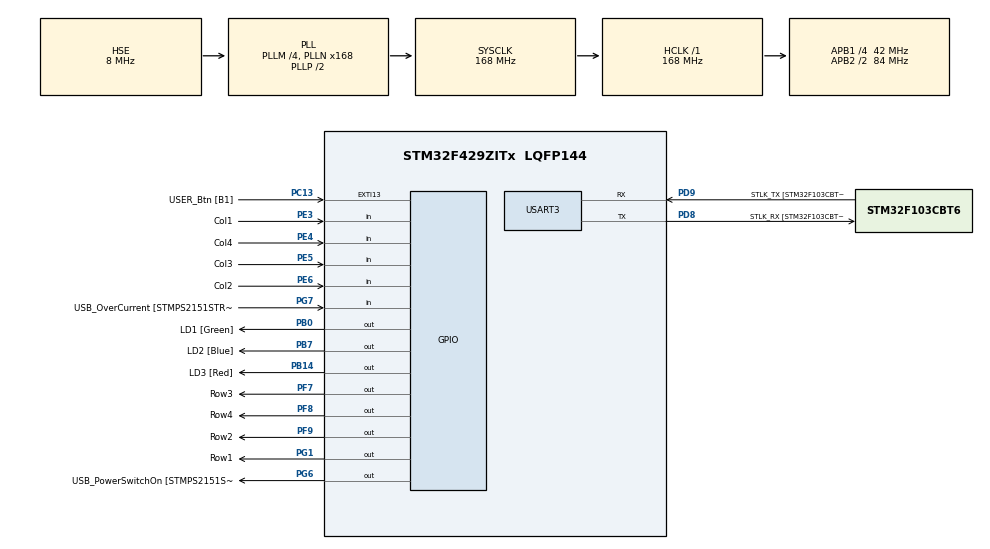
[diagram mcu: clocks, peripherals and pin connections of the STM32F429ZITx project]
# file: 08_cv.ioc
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Mcu.Family=STM32F4
Mcu.Name=STM32F429ZITx
Mcu.Package=LQFP144
NVIC.PriorityGroup=NVIC_PRIORITYGROUP_4
NVIC.TIM3_IRQn=true\:0\:0\:false\:false\:true\:true\:true
PA1.GPIO_Label=RMII_REF_CLK [LAN8742A-CZ-TR_REFCLK0]
PA1.Signal=ETH_REF_CLK
PA10.GPIO_Label=USB_ID
PA10.Signal=USB_OTG_FS_ID
PA11.GPIO_Label=USB_DM
PA11.Signal=USB_OTG_FS_DM
PA12.GPIO_Label=USB_DP
PA12.Signal=USB_OTG_FS_DP
PA13.GPIO_Label=TMS
PA13.Mode=Serial_Wire
PA13.Signal=SYS_JTMS-SWDIO
PA14.GPIO_Label=TCK
PA14.Mode=Serial_Wire
PA14.Signal=SYS_JTCK-SWCLK
PA2.GPIO_Label=RMII_MDIO [LAN8742A-CZ-TR_MDIO]
PA2.Signal=ETH_MDIO
PA7.GPIO_Label=RMII_CRS_DV [LAN8742A-CZ-TR_CRS_DV]
PA7.Signal=ETH_CRS_DV
PA8.GPIO_Label=USB_SOF [TP1]
PA8.Signal=USB_OTG_FS_SOF
PA9.GPIO_Label=USB_VBUS
PA9.Signal=USB_OTG_FS_VBUS
PB0.GPIO_Label=LD1 [Green]
PB0.Signal=GPIO_Output
PB13.GPIO_Label=RMII_TXD1 [LAN8742A-CZ-TR_TXD1]
PB13.Signal=ETH_TXD1
PB14.GPIO_Label=LD3 [Red]
PB14.Signal=GPIO_Output
PB7.GPIO_Label=LD2 [Blue]
PB7.Signal=GPIO_Output
PC1.GPIO_Label=RMII_MDC [LAN8742A-CZ-TR_MDC]
PC1.Signal=ETH_MDC
PC13.GPIO_Label=USER_Btn [B1]
PC13.Signal=GPXTI13
PC14/OSC32_IN.Mode=LSE-External-Oscillator
PC14/OSC32_IN.Signal=RCC_OSC32_IN
PC15/OSC32_OUT.Mode=LSE-External-Oscillator
PC15/OSC32_OUT.Signal=RCC_OSC32_OUT
PC4.GPIO_Label=RMII_RXD0 [LAN8742A-CZ-TR_RXD0]
PC4.Signal=ETH_RXD0
PC5.GPIO_Label=RMII_RXD1 [LAN8742A-CZ-TR_RXD1]
PC5.Signal=ETH_RXD1
PD8.GPIO_Label=STLK_RX [STM32F103CBT6_PA3]
PD8.Mode=Asynchronous
PD8.Signal=USART3_TX
PD9.GPIO_Label=STLK_TX [STM32F103CBT6_PA2]
PD9.Mode=Asynchronous
PD9.Signal=USART3_RX
PE3.GPIO_Label=Col1
PE3.GPIO_PuPd=GPIO_PULLUP
PE3.Signal=GPIO_Input
PE4.GPIO_Label=Col4
PE4.GPIO_PuPd=GPIO_PULLUP
PE4.Signal=GPIO_Input
PE5.GPIO_Label=Col3
PE5.GPIO_PuPd=GPIO_PULLUP
PE5.Signal=GPIO_Input
PE6.GPIO_Label=Col2
PE6.GPIO_PuPd=GPIO_PULLUP
PE6.Signal=GPIO_Input
PF7.GPIO_Label=Row3
PF7.GPIO_ModeDefaultOutputPP=GPIO_MODE_OUTPUT_OD
PF7.Signal=GPIO_Output
PF8.GPIO_Label=Row4
PF8.GPIO_ModeDefaultOutputPP=GPIO_MODE_OUTPUT_OD
PF8.Signal=GPIO_Output
PF9.GPIO_Label=Row2
PF9.GPIO_ModeDefaultOutputPP=GPIO_MODE_OUTPUT_OD
PF9.Signal=GPIO_Output
PG1.GPIO_Label=Row1
PG1.GPIO_ModeDefaultOutputPP=GPIO_MODE_OUTPUT_OD
PG1.Signal=GPIO_Output
PG11.GPIO_Label=RMII_TX_EN [LAN8742A-CZ-TR_TXEN]
PG11.Signal=ETH_TX_EN
PG13.GPIO_Label=RMII_TXD0 [LAN8742A-CZ-TR_TXD0]
PG13.Signal=ETH_TXD0
PG6.GPIO_Label=USB_PowerSwitchOn [STMPS2151STR_EN]
PG6.Signal=GPIO_Output
PG7.GPIO_Label=USB_OverCurrent [STMPS2151STR_FAULT]
PG7.Signal=GPIO_Input
PH0/OSC_IN.GPIO_Label=MCO [STM32F103CBT6_PA8]
PH0/OSC_IN.Mode=HSE-External-Clock-Source
PH0/OSC_IN.Signal=RCC_OSC_IN
PH1/OSC_OUT.Mode=HSE-External-Clock-Source
PH1/OSC_OUT.Signal=RCC_OSC_OUT
ProjectManager.HeapSize=0x200
ProjectManager.StackSize=0x400
ProjectManager.TargetToolchain=STM32CubeIDE
RCC.48MHZClocksFreq_Value=48000000
RCC.AHBFreq_Value=168000000
RCC.APB1CLKDivider=RCC_HCLK_DIV4
RCC.APB1Freq_Value=42000000
RCC.APB1TimFreq_Value=84000000
RCC.APB2CLKDivider=RCC_HCLK_DIV2
RCC.APB2Freq_Value=84000000
RCC.APB2TimCLKDivider=2
RCC.APB2TimFreq_Value=168000000
RCC.CortexFreq_Value=168000000
RCC.HCLKFreq_Value=168000000
RCC.HSE_VALUE=8000000
RCC.HSI_VALUE=16000000
RCC.PLLM=4
RCC.PLLMUL=RCC_PLL_MUL9
RCC.PLLN=168
RCC.PLLQ=7
RCC.PLLSourceVirtual=RCC_PLLSOURCE_HSE
RCC.PRESCALERUSB=RCC_USBCLKSOURCE_PLL_DIV1_5
RCC.SYSCLKFreq_VALUE=168000000
RCC.SYSCLKSource=RCC_SYSCLKSOURCE_PLLCLK
RCC.SYSCLKSourceVirtual=RCC_SYSCLKSOURCE_PLLCLK
RCC.USBFreq_Value=48000000
RCC.VCOOutputFreq_Value=336000000
TIM3.AutoReloadPreload=TIM_AUTORELOAD_PRELOAD_ENABLE
TIM3.Period=99
TIM3.Prescaler=8399
USART3.VirtualMode=VM_ASYNC
VP_TIM3_VS_ClockSourceINT.Mode=Internal
board=NUCLEO-F429ZI

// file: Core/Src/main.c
/* USER CODE BEGIN Header */
/**
  ******************************************************************************
  * @file           : main.c
  * @brief          : Main program body
  ******************************************************************************
  * @attention
  *
  * <h2><center>&copy; Copyright (c) 2021 STMicroelectronics.
  * All rights reserved.</center></h2>
  *
  * This software component is licensed by ST under BSD 3-Clause license,
  * the "License"; You may not use this file except in compliance with the
  * License. You may obtain a copy of the License at:
  *                        opensource.org/licenses/BSD-3-Clause
  *
  ******************************************************************************
  */
/* USER CODE END Header */
#include "main.h"

/* USER CODE BEGIN Includes */
#include <stdio.h>
/* USER CODE END Includes */

TIM_HandleTypeDef htim3;

UART_HandleTypeDef huart3;

/* USER CODE BEGIN PV */
volatile int key;
/* USER CODE END PV */

void SystemClock_Config(void);
static void MX_GPIO_Init(void);
static void MX_USART3_UART_Init(void);
static void MX_TIM3_Init(void);

/* USER CODE BEGIN 0 */

int __io_putchar(int ch)
{
	ITM_SendChar(ch);
	return 0;
}
/* USER CODE END 0 */

int main(void)
{
  /* USER CODE BEGIN 1 */
  const int code[5] = {7, 9, 3, 2, 12};
  uint8_t mistake = 0;
  uint8_t i = 0;
  static uint16_t timeout = 2000;
  static uint32_t tick;
  /* USER CODE END 1 */

  /* MCU Configuration--------------------------------------------------------*/

  /* Reset of all peripherals, Initializes the Flash interface and the Systick. */
  HAL_Init();

  /* Configure the system clock */
  SystemClock_Config();

  /* Initialize all configured peripherals */
  MX_GPIO_Init();
  MX_USART3_UART_Init();
  MX_TIM3_Init();
  /* USER CODE BEGIN 2 */
  HAL_TIM_Base_Start_IT(&htim3);
  /* USER CODE END 2 */

  /* Infinite loop */
  /* USER CODE BEGIN WHILE */
  while (1)
  {
//	  HAL_GPIO_TogglePin(LD1_GPIO_Port, LD1_Pin);
//	  HAL_Delay(250);
	  if (key != -1){
		  tick = HAL_GetTick();
		  HAL_Delay(250);
		  if ((key == code[i]) && key != 11){
			  i++;
		  }
		  else if((key != 11)){
			 mistake = 1;
			 i++;
		  }
		  else{
			  mistake = 0;
			  i = 0;
		  }
		  if(i == sizeof(code)/sizeof(code[0])){
			  if (mistake == 0){
				  printf("Access granted \n");
				  HAL_GPIO_WritePin(LD1_GPIO_Port, LD1_Pin, 1);
			  }
			  else{
				  HAL_GPIO_WritePin(LD1_GPIO_Port, LD1_Pin, 0);
				  printf("Invalid PIN code \n");
			  }
			  i = 0;

		  }
		  key = -1;
	  }
	  if(HAL_GetTick() > tick + timeout){
		  HAL_GPIO_WritePin(LD1_GPIO_Port, LD1_Pin, 0);
		  tick = HAL_GetTick();
		  i = 0;
	  }
    /* USER CODE END WHILE */

  }
}

void SystemClock_Config(void)
{
  RCC_OscInitTypeDef RCC_OscInitStruct = {0};
  RCC_ClkInitTypeDef RCC_ClkInitStruct = {0};

  /** Configure the main internal regulator output voltage
  */
  __HAL_RCC_PWR_CLK_ENABLE();
  __HAL_PWR_VOLTAGESCALING_CONFIG(PWR_REGULATOR_VOLTAGE_SCALE1);
  /** Initializes the RCC Oscillators according to the specified parameters
  * in the RCC_OscInitTypeDef structure.
  */
  RCC_OscInitStruct.OscillatorType = RCC_OSCILLATORTYPE_HSE;
  RCC_OscInitStruct.HSEState = RCC_HSE_BYPASS;
  RCC_OscInitStruct.PLL.PLLState = RCC_PLL_ON;
  RCC_OscInitStruct.PLL.PLLSource = RCC_PLLSOURCE_HSE;
  RCC_OscInitStruct.PLL.PLLM = 4;
  RCC_OscInitStruct.PLL.PLLN = 168;
  RCC_OscInitStruct.PLL.PLLP = RCC_PLLP_DIV2;
  RCC_OscInitStruct.PLL.PLLQ = 7;
  if (HAL_RCC_OscConfig(&RCC_OscInitStruct) != HAL_OK)
  {
    Error_Handler();
  }
  /** Initializes the CPU, AHB and APB buses clocks
  */
  RCC_ClkInitStruct.ClockType = RCC_CLOCKTYPE_HCLK|RCC_CLOCKTYPE_SYSCLK
                              |RCC_CLOCKTYPE_PCLK1|RCC_CLOCKTYPE_PCLK2;
  RCC_ClkInitStruct.SYSCLKSource = RCC_SYSCLKSOURCE_PLLCLK;
  RCC_ClkInitStruct.AHBCLKDivider = RCC_SYSCLK_DIV1;
  RCC_ClkInitStruct.APB1CLKDivider = RCC_HCLK_DIV4;
  RCC_ClkInitStruct.APB2CLKDivider = RCC_HCLK_DIV2;

  if (HAL_RCC_ClockConfig(&RCC_ClkInitStruct, FLASH_LATENCY_5) != HAL_OK)
  {
    Error_Handler();
  }
}

static void MX_TIM3_Init(void)
{

  TIM_ClockConfigTypeDef sClockSourceConfig = {0};
  TIM_MasterConfigTypeDef sMasterConfig = {0};

  htim3.Instance = TIM3;
  htim3.Init.Prescaler = 8399;
  htim3.Init.CounterMode = TIM_COUNTERMODE_UP;
  htim3.Init.Period = 99;
  htim3.Init.ClockDivision = TIM_CLOCKDIVISION_DIV1;
  htim3.Init.AutoReloadPreload = TIM_AUTORELOAD_PRELOAD_ENABLE;
  if (HAL_TIM_Base_Init(&htim3) != HAL_OK)
  {
    Error_Handler();
  }
  sClockSourceConfig.ClockSource = TIM_CLOCKSOURCE_INTERNAL;
  if (HAL_TIM_ConfigClockSource(&htim3, &sClockSourceConfig) != HAL_OK)
  {
    Error_Handler();
  }
  sMasterConfig.MasterOutputTrigger = TIM_TRGO_RESET;
  sMasterConfig.MasterSlaveMode = TIM_MASTERSLAVEMODE_DISABLE;
  if (HAL_TIMEx_MasterConfigSynchronization(&htim3, &sMasterConfig) != HAL_OK)
  {
    Error_Handler();
  }

}

static void MX_USART3_UART_Init(void)
{

  huart3.Instance = USART3;
  huart3.Init.BaudRate = 115200;
  huart3.Init.WordLength = UART_WORDLENGTH_8B;
  huart3.Init.StopBits = UART_STOPBITS_1;
  huart3.Init.Parity = UART_PARITY_NONE;
  huart3.Init.Mode = UART_MODE_TX_RX;
  huart3.Init.HwFlowCtl = UART_HWCONTROL_NONE;
  huart3.Init.OverSampling = UART_OVERSAMPLING_16;
  if (HAL_UART_Init(&huart3) != HAL_OK)
  {
    Error_Handler();
  }

}

static void MX_GPIO_Init(void)
{
  GPIO_InitTypeDef GPIO_InitStruct = {0};

  /* GPIO Ports Clock Enable */
  __HAL_RCC_GPIOE_CLK_ENABLE();
  __HAL_RCC_GPIOC_CLK_ENABLE();
  __HAL_RCC_GPIOF_CLK_ENABLE();
  __HAL_RCC_GPIOH_CLK_ENABLE();
  __HAL_RCC_GPIOA_CLK_ENABLE();
  __HAL_RCC_GPIOB_CLK_ENABLE();
  __HAL_RCC_GPIOG_CLK_ENABLE();
  __HAL_RCC_GPIOD_CLK_ENABLE();

  /*Configure GPIO pin Output Level */
  HAL_GPIO_WritePin(GPIOF, Row3_Pin|Row4_Pin|Row2_Pin, GPIO_PIN_RESET);

  /*Configure GPIO pin Output Level */
  HAL_GPIO_WritePin(GPIOB, LD1_Pin|LD3_Pin|LD2_Pin, GPIO_PIN_RESET);

  /*Configure GPIO pin Output Level */
  HAL_GPIO_WritePin(GPIOG, Row1_Pin|USB_PowerSwitchOn_Pin, GPIO_PIN_RESET);

  /*Configure GPIO pins : Col1_Pin Col4_Pin Col3_Pin Col2_Pin */
  GPIO_InitStruct.Pin = Col1_Pin|Col4_Pin|Col3_Pin|Col2_Pin;
  GPIO_InitStruct.Mode = GPIO_MODE_INPUT;
  GPIO_InitStruct.Pull = GPIO_PULLUP;
  HAL_GPIO_Init(GPIOE, &GPIO_InitStruct);

  /*Configure GPIO pin : USER_Btn_Pin */
  GPIO_InitStruct.Pin = USER_Btn_Pin;
  GPIO_InitStruct.Mode = GPIO_MODE_IT_RISING;
  GPIO_InitStruct.Pull = GPIO_NOPULL;
  HAL_GPIO_Init(USER_Btn_GPIO_Port, &GPIO_InitStruct);

  /*Configure GPIO pins : Row3_Pin Row4_Pin Row2_Pin */
  GPIO_InitStruct.Pin = Row3_Pin|Row4_Pin|Row2_Pin;
  GPIO_InitStruct.Mode = GPIO_MODE_OUTPUT_OD;
  GPIO_InitStruct.Pull = GPIO_NOPULL;
  GPIO_InitStruct.Speed = GPIO_SPEED_FREQ_LOW;
  HAL_GPIO_Init(GPIOF, &GPIO_InitStruct);

  /*Configure GPIO pins : RMII_MDC_Pin RMII_RXD0_Pin RMII_RXD1_Pin */
  GPIO_InitStruct.Pin = RMII_MDC_Pin|RMII_RXD0_Pin|RMII_RXD1_Pin;
  GPIO_InitStruct.Mode = GPIO_MODE_AF_PP;
  GPIO_InitStruct.Pull = GPIO_NOPULL;
  GPIO_InitStruct.Speed = GPIO_SPEED_FREQ_VERY_HIGH;
  GPIO_InitStruct.Alternate = GPIO_AF11_ETH;
  HAL_GPIO_Init(GPIOC, &GPIO_InitStruct);

  /*Configure GPIO pins : RMII_REF_CLK_Pin RMII_MDIO_Pin RMII_CRS_DV_Pin */
  GPIO_InitStruct.Pin = RMII_REF_CLK_Pin|RMII_MDIO_Pin|RMII_CRS_DV_Pin;
  GPIO_InitStruct.Mode = GPIO_MODE_AF_PP;
  GPIO_InitStruct.Pull = GPIO_NOPULL;
  GPIO_InitStruct.Speed = GPIO_SPEED_FREQ_VERY_HIGH;
  GPIO_InitStruct.Alternate = GPIO_AF11_ETH;
  HAL_GPIO_Init(GPIOA, &GPIO_InitStruct);

  /*Configure GPIO pins : LD1_Pin LD3_Pin LD2_Pin */
  GPIO_InitStruct.Pin = LD1_Pin|LD3_Pin|LD2_Pin;
  GPIO_InitStruct.Mode = GPIO_MODE_OUTPUT_PP;
  GPIO_InitStruct.Pull = GPIO_NOPULL;
  GPIO_InitStruct.Speed = GPIO_SPEED_FREQ_LOW;
  HAL_GPIO_Init(GPIOB, &GPIO_InitStruct);

  /*Configure GPIO pin : Row1_Pin */
  GPIO_InitStruct.Pin = Row1_Pin;
  GPIO_InitStruct.Mode = GPIO_MODE_OUTPUT_OD;
  GPIO_InitStruct.Pull = GPIO_NOPULL;
  GPIO_InitStruct.Speed = GPIO_SPEED_FREQ_LOW;
  HAL_GPIO_Init(Row1_GPIO_Port, &GPIO_InitStruct);

  /*Configure GPIO pin : RMII_TXD1_Pin */
  GPIO_InitStruct.Pin = RMII_TXD1_Pin;
  GPIO_InitStruct.Mode = GPIO_MODE_AF_PP;
  GPIO_InitStruct.Pull = GPIO_NOPULL;
  GPIO_InitStruct.Speed = GPIO_SPEED_FREQ_VERY_HIGH;
  GPIO_InitStruct.Alternate = GPIO_AF11_ETH;
  HAL_GPIO_Init(RMII_TXD1_GPIO_Port, &GPIO_InitStruct);

  /*Configure GPIO pin : USB_PowerSwitchOn_Pin */
  GPIO_InitStruct.Pin = USB_PowerSwitchOn_Pin;
  GPIO_InitStruct.Mode = GPIO_MODE_OUTPUT_PP;
  GPIO_InitStruct.Pull = GPIO_NOPULL;
  GPIO_InitStruct.Speed = GPIO_SPEED_FREQ_LOW;
  HAL_GPIO_Init(USB_PowerSwitchOn_GPIO_Port, &GPIO_InitStruct);

  /*Configure GPIO pin : USB_OverCurrent_Pin */
  GPIO_InitStruct.Pin = USB_OverCurrent_Pin;
  GPIO_InitStruct.Mode = GPIO_MODE_INPUT;
  GPIO_InitStruct.Pull = GPIO_NOPULL;
  HAL_GPIO_Init(USB_OverCurrent_GPIO_Port, &GPIO_InitStruct);

  /*Configure GPIO pins : USB_SOF_Pin USB_ID_Pin USB_DM_Pin USB_DP_Pin */
  GPIO_InitStruct.Pin = USB_SOF_Pin|USB_ID_Pin|USB_DM_Pin|USB_DP_Pin;
  GPIO_InitStruct.Mode = GPIO_MODE_AF_PP;
  GPIO_InitStruct.Pull = GPIO_NOPULL;
  GPIO_InitStruct.Speed = GPIO_SPEED_FREQ_VERY_HIGH;
  GPIO_InitStruct.Alternate = GPIO_AF10_OTG_FS;
  HAL_GPIO_Init(GPIOA, &GPIO_InitStruct);

  /*Configure GPIO pin : USB_VBUS_Pin */
  GPIO_InitStruct.Pin = USB_VBUS_Pin;
  GPIO_InitStruct.Mode = GPIO_MODE_INPUT;
  GPIO_InitStruct.Pull = GPIO_NOPULL;
  HAL_GPIO_Init(USB_VBUS_GPIO_Port, &GPIO_InitStruct);

  /*Configure GPIO pins : RMII_TX_EN_Pin RMII_TXD0_Pin */
  GPIO_InitStruct.Pin = RMII_TX_EN_Pin|RMII_TXD0_Pin;
  GPIO_InitStruct.Mode = GPIO_MODE_AF_PP;
  GPIO_InitStruct.Pull = GPIO_NOPULL;
  GPIO_InitStruct.Speed = GPIO_SPEED_FREQ_VERY_HIGH;
  GPIO_InitStruct.Alternate = GPIO_AF11_ETH;
  HAL_GPIO_Init(GPIOG, &GPIO_InitStruct);

}

/* USER CODE BEGIN 4 */
void HAL_TIM_PeriodElapsedCallback(TIM_HandleTypeDef *htim)
{
	static int row = 0;
	static const int keyboard[4][4] = {
			{ 1, 2, 3, 21 },
			{ 4, 5, 6, 22 },
			{ 7, 8, 9, 23 },
			{ 11, 0, 12, 24 },
	};
	if (key == -1) {
		if (HAL_GPIO_ReadPin(Col1_GPIO_Port, Col1_Pin) == GPIO_PIN_RESET) key = keyboard[row][0];
		if (HAL_GPIO_ReadPin(Col2_GPIO_Port, Col2_Pin) == GPIO_PIN_RESET) key = keyboard[row][1];
		if (HAL_GPIO_ReadPin(Col3_GPIO_Port, Col3_Pin) == GPIO_PIN_RESET) key = keyboard[row][2];
		if (HAL_GPIO_ReadPin(Col4_GPIO_Port, Col4_Pin) == GPIO_PIN_RESET) key = keyboard[row][3];
	}
	HAL_GPIO_WritePin(Row1_GPIO_Port, Row1_Pin, GPIO_PIN_SET);
	HAL_GPIO_WritePin(Row2_GPIO_Port, Row2_Pin, GPIO_PIN_SET);
	HAL_GPIO_WritePin(Row3_GPIO_Port, Row3_Pin, GPIO_PIN_SET);
	HAL_GPIO_WritePin(Row4_GPIO_Port, Row4_Pin, GPIO_PIN_SET);
	switch (row) {
	case 0: row = 1; HAL_GPIO_WritePin(Row2_GPIO_Port, Row2_Pin, GPIO_PIN_RESET); break;
	case 1: row = 2; HAL_GPIO_WritePin(Row3_GPIO_Port, Row3_Pin, GPIO_PIN_RESET); break;
	case 2: row = 3; HAL_GPIO_WritePin(Row4_GPIO_Port, Row4_Pin, GPIO_PIN_RESET); break;
	case 3: row = 0; HAL_GPIO_WritePin(Row1_GPIO_Port, Row1_Pin, GPIO_PIN_RESET); break;
	}
}
/* USER CODE END 4 */

void Error_Handler(void)
{
  __disable_irq();
  while (1)
  {
  }
}

/************************ (C) COPYRIGHT STMicroelectronics *****END OF FILE****/
